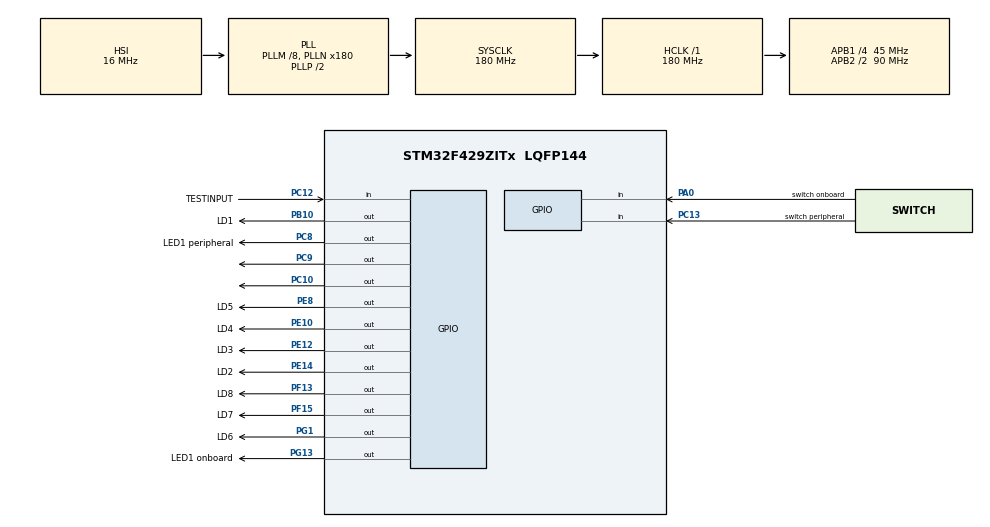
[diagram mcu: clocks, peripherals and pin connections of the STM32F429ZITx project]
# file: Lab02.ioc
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Mcu.Family=STM32F4
Mcu.Name=STM32F429ZITx
Mcu.Package=LQFP144
NVIC.PriorityGroup=NVIC_PRIORITYGROUP_4
PA0/WKUP.GPIO_Label=switch onboard
PA0/WKUP.Signal=GPIO_Input
PB10.GPIO_Label=LD1
PB10.Signal=GPIO_Output
PC10.Signal=GPIO_Output
PC12.GPIO_Label=TESTINPUT
PC12.GPIO_PuPd=GPIO_PULLDOWN
PC12.Signal=GPIO_Input
PC13.GPIO_Label=switch peripheral
PC13.GPIO_PuPd=GPIO_NOPULL
PC13.Signal=GPIO_Input
PC8.GPIO_Label=LED1 peripheral
PC8.GPIO_PuPd=GPIO_PULLUP
PC8.Signal=GPIO_Output
PC9.Signal=GPIO_Output
PE10.GPIO_Label=LD4
PE10.Signal=GPIO_Output
PE12.GPIO_Label=LD3
PE12.Signal=GPIO_Output
PE14.GPIO_Label=LD2
PE14.Signal=GPIO_Output
PE8.GPIO_Label=LD5
PE8.Signal=GPIO_Output
PF13.GPIO_Label=LD8
PF13.Signal=GPIO_Output
PF15.GPIO_Label=LD7
PF15.Signal=GPIO_Output
PG1.GPIO_Label=LD6
PG1.Signal=GPIO_Output
PG13.GPIO_Label=LED1 onboard 
PG13.Signal=GPIO_Output
ProjectManager.HeapSize=0x200
ProjectManager.StackSize=0x400
ProjectManager.TargetToolchain=STM32CubeIDE
RCC.48MHZClocksFreq_Value=90000000
RCC.AHBFreq_Value=180000000
RCC.APB1CLKDivider=RCC_HCLK_DIV4
RCC.APB1Freq_Value=45000000
RCC.APB1TimFreq_Value=90000000
RCC.APB2CLKDivider=RCC_HCLK_DIV2
RCC.APB2Freq_Value=90000000
RCC.APB2TimFreq_Value=180000000
RCC.CortexFreq_Value=180000000
RCC.HCLKFreq_Value=180000000
RCC.HSE_VALUE=25000000
RCC.HSI_VALUE=16000000
RCC.LSE_VALUE=32768
RCC.PLLM=8
RCC.PLLN=180
RCC.SYSCLKFreq_VALUE=180000000
RCC.SYSCLKSource=RCC_SYSCLKSOURCE_PLLCLK
RCC.VCOOutputFreq_Value=360000000
board=custom

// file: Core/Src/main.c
/* USER CODE BEGIN Header */
/**
  ******************************************************************************
  * @file           : main.c
  * @brief          : Main program body
  ******************************************************************************
  * @attention
  *
  * <h2><center>&copy; Copyright (c) 2021 STMicroelectronics.
  * All rights reserved.</center></h2>
  *
  * This software component is licensed by ST under BSD 3-Clause license,
  * the "License"; You may not use this file except in compliance with the
  * License. You may obtain a copy of the License at:
  *                        opensource.org/licenses/BSD-3-Clause
  *
  ******************************************************************************
  */
/* USER CODE END Header */
#include "main.h"
#include "gpio.h"

void SystemClock_Config(void);

/* USER CODE BEGIN 0 */
GPIO_PinState buttonOnboard = 0;
GPIO_PinState button1 = 1;
GPIO_PinState led1 = 1;
GPIO_PinState loop = 0;
uint8_t led = 0;
int8_t num = 0;
GPIO_PinState special;

/* USER CODE END 0 */

int main(void)
{

  /* MCU Configuration--------------------------------------------------------*/

  /* Reset of all peripherals, Initializes the Flash interface and the Systick. */
  HAL_Init();

  /* Configure the system clock */
  SystemClock_Config();

  /* Initialize all configured peripherals */
  MX_GPIO_Init();

  /* Infinite loop */
  while (1)
  {

    /* USER CODE BEGIN 3 */

	  //No.1

//	  if(HAL_GPIO_ReadPin(GPIOA, GPIO_PIN_0) == 1){
//		  isOn = 1;
//		  HAL_GPIO_WritePin(GPIOG, GPIO_PIN_13, GPIO_PIN_SET);
//		  HAL_Delay(1000);
//		  HAL_GPIO_WritePin(GPIOG, GPIO_PIN_13, GPIO_PIN_RESET);
//		  isOn = 0;
//	  }

	  //No.2
//	  button1 = HAL_GPIO_ReadPin(GPIOC, GPIO_PIN_13); // incoming... 1 (Pull up)
//
//	  HAL_GPIO_WritePin(GPIOC, GPIO_PIN_8, GPIO_PIN_SET); //led1 force to SET (Pull up)
//	  led1 = HAL_GPIO_ReadPin(GPIOC, GPIO_PIN_8); //READ led1
//
//	  if(button1 == 0){
//		  HAL_GPIO_WritePin(GPIOC, GPIO_PIN_8, GPIO_PIN_RESET);
//		  led1 = HAL_GPIO_ReadPin(GPIOC, GPIO_PIN_8); //READ led1
//		  HAL_Delay(1000);
//
//		  HAL_GPIO_WritePin(GPIOC, GPIO_PIN_8, GPIO_PIN_SET);
//	  }

	  //No.3
	  buttonOnboard = HAL_GPIO_ReadPin(GPIOA, GPIO_PIN_0); // (Pull down)
	  button1 = HAL_GPIO_ReadPin(GPIOC, GPIO_PIN_13); // incoming... 1 (Pull up)

	  special = HAL_GPIO_ReadPin(GPIOC, GPIO_PIN_12);

	  //Press switch on board
	  if(buttonOnboard == 1){
		  if(led == 0b10000000){
			  led = 1;
			  num = 0;
			  continue;

		  }else{
			  led = (1 << num); // set bit << how many
			  num++;
		  }
	  }

	  //Press switch peripheral
	  if(button1 == 0){
		  num = 7;
		  loop = 1;
	  }

	  if(loop == 1){

		  led = (1 << num);

		  if(num == -1){
			  loop = 0;
			  num = 0;
			  continue;
		  }

		  num--;
	  }

	  //Lighting
	  HAL_GPIO_WritePin(GPIOF, GPIO_PIN_13, !((led >> 0) & 1));
	  HAL_GPIO_WritePin(GPIOF, GPIO_PIN_15, !((led >> 1) & 1));
	  HAL_GPIO_WritePin(GPIOG, GPIO_PIN_1, !((led >> 2) & 1));
	  HAL_GPIO_WritePin(GPIOE, GPIO_PIN_8, !((led >> 3) & 1));
	  HAL_GPIO_WritePin(GPIOE, GPIO_PIN_10, !((led >> 4) & 1));
	  HAL_GPIO_WritePin(GPIOE, GPIO_PIN_12, !((led >> 5) & 1));
	  HAL_GPIO_WritePin(GPIOE, GPIO_PIN_14, !((led >> 6) & 1));
	  HAL_GPIO_WritePin(GPIOB, GPIO_PIN_10, !((led >> 7) & 1));

	  HAL_Delay(500);

	  //Behind Lab Question No.1
//	  HAL_GPIO_WritePin(GPIOC, GPIO_PIN_8|GPIO_PIN_9|GPIO_PIN_10, !0);

	  //Behind Lab Question No.2
//	  for (uint8_t n=0; n<=2; n++)
//	  {
//		//Light Off		//RESET SET
//		GPIOC -> BSRR = (0x00000700);
//		HAL_Delay(500);
//
//		//Light On
//		GPIOC -> BSRR = (0x04000000 >> n);
//		HAL_Delay(500);
//	  }

  }
  /* USER CODE END 3 */
}

void SystemClock_Config(void)
{
  RCC_OscInitTypeDef RCC_OscInitStruct = {0};
  RCC_ClkInitTypeDef RCC_ClkInitStruct = {0};

  /** Configure the main internal regulator output voltage
  */
  __HAL_RCC_PWR_CLK_ENABLE();
  __HAL_PWR_VOLTAGESCALING_CONFIG(PWR_REGULATOR_VOLTAGE_SCALE1);
  /** Initializes the RCC Oscillators according to the specified parameters
  * in the RCC_OscInitTypeDef structure.
  */
  RCC_OscInitStruct.OscillatorType = RCC_OSCILLATORTYPE_HSI;
  RCC_OscInitStruct.HSIState = RCC_HSI_ON;
  RCC_OscInitStruct.HSICalibrationValue = RCC_HSICALIBRATION_DEFAULT;
  RCC_OscInitStruct.PLL.PLLState = RCC_PLL_ON;
  RCC_OscInitStruct.PLL.PLLSource = RCC_PLLSOURCE_HSI;
  RCC_OscInitStruct.PLL.PLLM = 8;
  RCC_OscInitStruct.PLL.PLLN = 180;
  RCC_OscInitStruct.PLL.PLLP = RCC_PLLP_DIV2;
  RCC_OscInitStruct.PLL.PLLQ = 4;
  if (HAL_RCC_OscConfig(&RCC_OscInitStruct) != HAL_OK)
  {
    Error_Handler();
  }
  /** Activate the Over-Drive mode
  */
  if (HAL_PWREx_EnableOverDrive() != HAL_OK)
  {
    Error_Handler();
  }
  /** Initializes the CPU, AHB and APB buses clocks
  */
  RCC_ClkInitStruct.ClockType = RCC_CLOCKTYPE_HCLK|RCC_CLOCKTYPE_SYSCLK
                              |RCC_CLOCKTYPE_PCLK1|RCC_CLOCKTYPE_PCLK2;
  RCC_ClkInitStruct.SYSCLKSource = RCC_SYSCLKSOURCE_PLLCLK;
  RCC_ClkInitStruct.AHBCLKDivider = RCC_SYSCLK_DIV1;
  RCC_ClkInitStruct.APB1CLKDivider = RCC_HCLK_DIV4;
  RCC_ClkInitStruct.APB2CLKDivider = RCC_HCLK_DIV2;

  if (HAL_RCC_ClockConfig(&RCC_ClkInitStruct, FLASH_LATENCY_5) != HAL_OK)
  {
    Error_Handler();
  }
}

void Error_Handler(void)
{
  __disable_irq();
  while (1)
  {
  }
}

/************************ (C) COPYRIGHT STMicroelectronics *****END OF FILE****/
